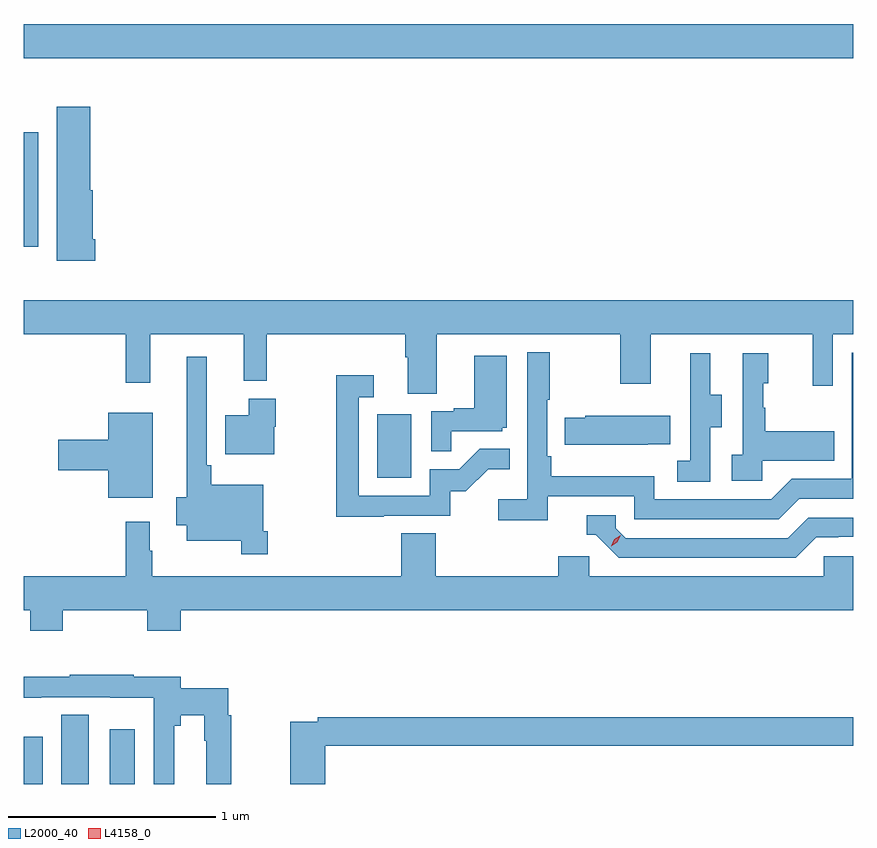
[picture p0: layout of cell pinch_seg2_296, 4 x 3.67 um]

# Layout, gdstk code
import gdstk
lib = gdstk.Library(unit=1e-6, precision=1e-09)
def R(c, l, rs):  # rectangles x0, y0, x1, y1
    for r in rs: c.add(gdstk.rectangle(r[:2], r[2:], *l))
def P(c, l, *ps):  # polygons
    for p in ps: c.add(gdstk.Polygon(p, *l))
L2000_40 = (2000, 40)
L4158_0 = (4158, 0)

pinch_seg2_296 = lib.new_cell('pinch_seg2_296')
R(pinch_seg2_296, L2000_40, [(911.09,644.135,911.182,644.362), (911.27,644.135,911.404,644.468), (911.504,644.135,911.626,644.398), (912.794,645.612,912.958,645.919), (911.09,646.726,911.16,647.278), (911.09,647.636,915.09,647.8)])
P(pinch_seg2_296, L2000_40, [(911.435,646.762),(911.422,646.762),(911.422,646.998),(911.41,646.998),(911.41,647.401),(911.249,647.401),(911.249,646.658),(911.435,646.658)],
  [(913.081,646.304),(913.966,646.304),(913.966,646.065),(914.113,646.065),(914.113,646.304),(914.894,646.304),(914.894,646.056),(914.991,646.056),(914.991,646.304),(915.09,646.304),(915.09,646.468),(911.09,646.468),(911.09,646.304),(911.581,646.304),(911.581,646.071),(911.699,646.071),(911.699,646.304),(912.152,646.304),(912.152,646.079),(912.262,646.079),(912.262,646.304),(912.929,646.304),(912.929,646.192),(912.941,646.192),(912.941,646.018),(913.081,646.018)],
  [(913.616,645.522),(914.034,645.522),(914.034,645.411),(914.731,645.411),(914.83,645.51),(915.09,645.51),(915.09,646.215),(915.084,646.215),(915.084,645.606),(914.793,645.606),(914.694,645.507),(914.13,645.507),(914.13,645.619),(913.634,645.619),(913.634,645.715),(913.614,645.715),(913.614,645.988),(913.627,645.988),(913.627,646.216),(913.518,646.216),(913.518,645.508),(913.377,645.508),(913.377,645.406),(913.616,645.406)],
  [(914.652,645.695),(914.999,645.695),(914.999,645.835),(914.665,645.835),(914.665,645.95),(914.655,645.95),(914.655,646.068),(914.68,646.068),(914.68,646.213),(914.556,646.213),(914.556,645.722),(914.505,645.722),(914.505,645.597),(914.652,645.597)],
  [(914.4,645.856),(914.455,645.856),(914.455,646.011),(914.401,646.011),(914.401,646.213),(914.303,646.213),(914.303,645.999),(914.304,645.999),(914.304,645.695),(914.241,645.695),(914.241,645.592),(914.4,645.592)],
  [(913.151,645.837),(913.398,645.837),(913.398,645.852),(913.42,645.852),(913.42,646.201),(913.262,646.201),(913.262,645.946),(913.163,645.946),(913.163,645.933),(913.056,645.933),(913.056,645.739),(913.151,645.739)],
  [(912.266,645.355),(912.246,645.355),(912.246,645.577),(911.993,645.577),(911.993,645.673),(911.973,645.673),(911.973,646.195),(911.876,646.195),(911.876,645.518),(911.825,645.518),(911.825,645.383),(911.876,645.383),(911.876,645.308),(912.138,645.308),(912.138,645.243),(912.266,645.243)],
  [(912.827,645.429),(913.146,645.429),(913.146,645.546),(913.222,645.546),(913.329,645.653),(913.433,645.653),(913.433,645.752),(913.289,645.752),(913.191,645.654),(913.047,645.654),(913.047,645.525),(912.705,645.525),(912.705,645.999),(912.778,645.999),(912.778,646.105),(912.597,646.105),(912.597,645.424),(912.827,645.424)],
  [(912.298,645.858),(912.306,645.858),(912.306,645.994),(912.176,645.994),(912.176,645.913),(912.062,645.913),(912.062,645.725),(912.298,645.725)],
  [(911.713,645.925),(911.498,645.925),(911.498,645.794),(911.256,645.794),(911.256,645.647),(911.498,645.647),(911.498,645.515),(911.713,645.515)],
  [(914.099,645.773),(914.207,645.773),(914.207,645.91),(913.797,645.91),(913.797,645.9),(913.699,645.9),(913.699,645.77),(914.099,645.77)],
  [(914.911,645.324),(915.018,645.324),(915.018,645.327),(915.09,645.327),(915.09,645.42),(914.874,645.42),(914.775,645.321),(913.992,645.321),(913.944,645.369),(913.944,645.432),(913.805,645.432),(913.805,645.336),(913.848,645.336),(913.959,645.225),(914.812,645.225)],
  [(911.277,644.972),(911.686,644.972),(911.686,644.873),(911.846,644.873),(911.846,644.972),(915.09,644.972),(915.09,645.234),(914.949,645.234),(914.949,645.136),(913.818,645.136),(913.818,645.234),(913.667,645.234),(913.667,645.136),(913.076,645.136),(913.076,645.344),(912.911,645.344),(912.911,645.136),(911.71,645.136),(911.71,645.26),(911.697,645.26),(911.697,645.4),(911.581,645.4),(911.581,645.136),(911.09,645.136),(911.09,644.972),(911.122,644.972),(911.122,644.873),(911.277,644.873)],
  [(911.815,644.417),(911.848,644.417),(911.848,644.467),(911.961,644.467),(911.961,644.343),(911.969,644.343),(911.969,644.135),(912.091,644.135),(912.091,644.467),(912.077,644.467),(912.077,644.596),(911.848,644.596),(911.848,644.652),(911.621,644.652),(911.621,644.662),(911.311,644.662),(911.311,644.652),(911.09,644.652),(911.09,644.552),(911.174,644.552),(911.174,644.553),(911.508,644.553),(911.508,644.552),(911.718,644.552),(911.718,644.135),(911.815,644.135)],
  [(912.545,644.32),(915.09,644.32),(915.09,644.456),(912.508,644.456),(912.508,644.436),(912.374,644.436),(912.374,644.135),(912.545,644.135)])
P(pinch_seg2_296, L4158_0, [(913.922,645.282),(913.922,645.282),(913.938,645.315),(913.968,645.334),(913.969,645.334),(913.969,645.334),(913.953,645.302),(913.922,645.282)])

lib.write_gds('pinch_seg2_296.gds')
